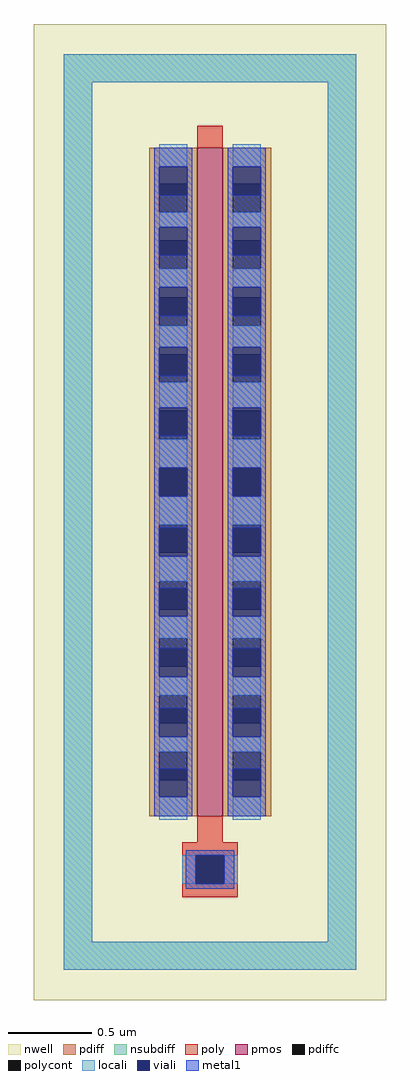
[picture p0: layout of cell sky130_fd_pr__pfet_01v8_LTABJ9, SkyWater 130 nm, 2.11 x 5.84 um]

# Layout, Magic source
magic
tech sky130B
magscale 1 2
<< nwell >>
rect -211 -584 211 584
<< pmos >>
rect -15 -364 15 436
<< pdiff >>
rect -73 393 -15 436
rect -73 359 -61 393
rect -27 359 -15 393
rect -73 325 -15 359
rect -73 291 -61 325
rect -27 291 -15 325
rect -73 257 -15 291
rect -73 223 -61 257
rect -27 223 -15 257
rect -73 189 -15 223
rect -73 155 -61 189
rect -27 155 -15 189
rect -73 121 -15 155
rect -73 87 -61 121
rect -27 87 -15 121
rect -73 53 -15 87
rect -73 19 -61 53
rect -27 19 -15 53
rect -73 -15 -15 19
rect -73 -49 -61 -15
rect -27 -49 -15 -15
rect -73 -83 -15 -49
rect -73 -117 -61 -83
rect -27 -117 -15 -83
rect -73 -151 -15 -117
rect -73 -185 -61 -151
rect -27 -185 -15 -151
rect -73 -219 -15 -185
rect -73 -253 -61 -219
rect -27 -253 -15 -219
rect -73 -287 -15 -253
rect -73 -321 -61 -287
rect -27 -321 -15 -287
rect -73 -364 -15 -321
rect 15 393 73 436
rect 15 359 27 393
rect 61 359 73 393
rect 15 325 73 359
rect 15 291 27 325
rect 61 291 73 325
rect 15 257 73 291
rect 15 223 27 257
rect 61 223 73 257
rect 15 189 73 223
rect 15 155 27 189
rect 61 155 73 189
rect 15 121 73 155
rect 15 87 27 121
rect 61 87 73 121
rect 15 53 73 87
rect 15 19 27 53
rect 61 19 73 53
rect 15 -15 73 19
rect 15 -49 27 -15
rect 61 -49 73 -15
rect 15 -83 73 -49
rect 15 -117 27 -83
rect 61 -117 73 -83
rect 15 -151 73 -117
rect 15 -185 27 -151
rect 61 -185 73 -151
rect 15 -219 73 -185
rect 15 -253 27 -219
rect 61 -253 73 -219
rect 15 -287 73 -253
rect 15 -321 27 -287
rect 61 -321 73 -287
rect 15 -364 73 -321
<< pdiffc >>
rect -61 359 -27 393
rect -61 291 -27 325
rect -61 223 -27 257
rect -61 155 -27 189
rect -61 87 -27 121
rect -61 19 -27 53
rect -61 -49 -27 -15
rect -61 -117 -27 -83
rect -61 -185 -27 -151
rect -61 -253 -27 -219
rect -61 -321 -27 -287
rect 27 359 61 393
rect 27 291 61 325
rect 27 223 61 257
rect 27 155 61 189
rect 27 87 61 121
rect 27 19 61 53
rect 27 -49 61 -15
rect 27 -117 61 -83
rect 27 -185 61 -151
rect 27 -253 61 -219
rect 27 -321 61 -287
<< nsubdiff >>
rect -175 514 175 548
rect -175 -514 -141 514
rect 141 -514 175 514
rect -175 -548 175 -514
<< poly >>
rect -15 436 15 462
rect -15 -395 15 -364
rect -33 -411 33 -395
rect -33 -445 -17 -411
rect 17 -445 33 -411
rect -33 -461 33 -445
<< polycont >>
rect -17 -445 17 -411
<< locali >>
rect -175 514 175 548
rect -175 -514 -141 514
rect -61 413 -27 440
rect -61 341 -27 359
rect -61 269 -27 291
rect -61 197 -27 223
rect -61 125 -27 155
rect -61 53 -27 87
rect -61 -15 -27 19
rect -61 -83 -27 -53
rect -61 -151 -27 -125
rect -61 -219 -27 -197
rect -61 -287 -27 -269
rect -61 -368 -27 -341
rect 27 413 61 440
rect 27 341 61 359
rect 27 269 61 291
rect 27 197 61 223
rect 27 125 61 155
rect 27 53 61 87
rect 27 -15 61 19
rect 27 -83 61 -53
rect 27 -151 61 -125
rect 27 -219 61 -197
rect 27 -287 61 -269
rect 27 -368 61 -341
rect -33 -445 -17 -411
rect 17 -445 33 -411
rect 141 -514 175 514
rect -175 -548 175 -514
<< viali >>
rect -61 393 -27 413
rect -61 379 -27 393
rect -61 325 -27 341
rect -61 307 -27 325
rect -61 257 -27 269
rect -61 235 -27 257
rect -61 189 -27 197
rect -61 163 -27 189
rect -61 121 -27 125
rect -61 91 -27 121
rect -61 19 -27 53
rect -61 -49 -27 -19
rect -61 -53 -27 -49
rect -61 -117 -27 -91
rect -61 -125 -27 -117
rect -61 -185 -27 -163
rect -61 -197 -27 -185
rect -61 -253 -27 -235
rect -61 -269 -27 -253
rect -61 -321 -27 -307
rect -61 -341 -27 -321
rect 27 393 61 413
rect 27 379 61 393
rect 27 325 61 341
rect 27 307 61 325
rect 27 257 61 269
rect 27 235 61 257
rect 27 189 61 197
rect 27 163 61 189
rect 27 121 61 125
rect 27 91 61 121
rect 27 19 61 53
rect 27 -49 61 -19
rect 27 -53 61 -49
rect 27 -117 61 -91
rect 27 -125 61 -117
rect 27 -185 61 -163
rect 27 -197 61 -185
rect 27 -253 61 -235
rect 27 -269 61 -253
rect 27 -321 61 -307
rect 27 -341 61 -321
rect -17 -445 17 -411
<< metal1 >>
rect -67 413 -21 436
rect -67 379 -61 413
rect -27 379 -21 413
rect -67 341 -21 379
rect -67 307 -61 341
rect -27 307 -21 341
rect -67 269 -21 307
rect -67 235 -61 269
rect -27 235 -21 269
rect -67 197 -21 235
rect -67 163 -61 197
rect -27 163 -21 197
rect -67 125 -21 163
rect -67 91 -61 125
rect -27 91 -21 125
rect -67 53 -21 91
rect -67 19 -61 53
rect -27 19 -21 53
rect -67 -19 -21 19
rect -67 -53 -61 -19
rect -27 -53 -21 -19
rect -67 -91 -21 -53
rect -67 -125 -61 -91
rect -27 -125 -21 -91
rect -67 -163 -21 -125
rect -67 -197 -61 -163
rect -27 -197 -21 -163
rect -67 -235 -21 -197
rect -67 -269 -61 -235
rect -27 -269 -21 -235
rect -67 -307 -21 -269
rect -67 -341 -61 -307
rect -27 -341 -21 -307
rect -67 -364 -21 -341
rect 21 413 67 436
rect 21 379 27 413
rect 61 379 67 413
rect 21 341 67 379
rect 21 307 27 341
rect 61 307 67 341
rect 21 269 67 307
rect 21 235 27 269
rect 61 235 67 269
rect 21 197 67 235
rect 21 163 27 197
rect 61 163 67 197
rect 21 125 67 163
rect 21 91 27 125
rect 61 91 67 125
rect 21 53 67 91
rect 21 19 27 53
rect 61 19 67 53
rect 21 -19 67 19
rect 21 -53 27 -19
rect 61 -53 67 -19
rect 21 -91 67 -53
rect 21 -125 27 -91
rect 61 -125 67 -91
rect 21 -163 67 -125
rect 21 -197 27 -163
rect 61 -197 67 -163
rect 21 -235 67 -197
rect 21 -269 27 -235
rect 61 -269 67 -235
rect 21 -307 67 -269
rect 21 -341 27 -307
rect 61 -341 67 -307
rect 21 -364 67 -341
rect -29 -411 29 -405
rect -29 -445 -17 -411
rect 17 -445 29 -411
rect -29 -451 29 -445
<< properties >>
string FIXED_BBOX -158 -531 158 531
<< end >>
